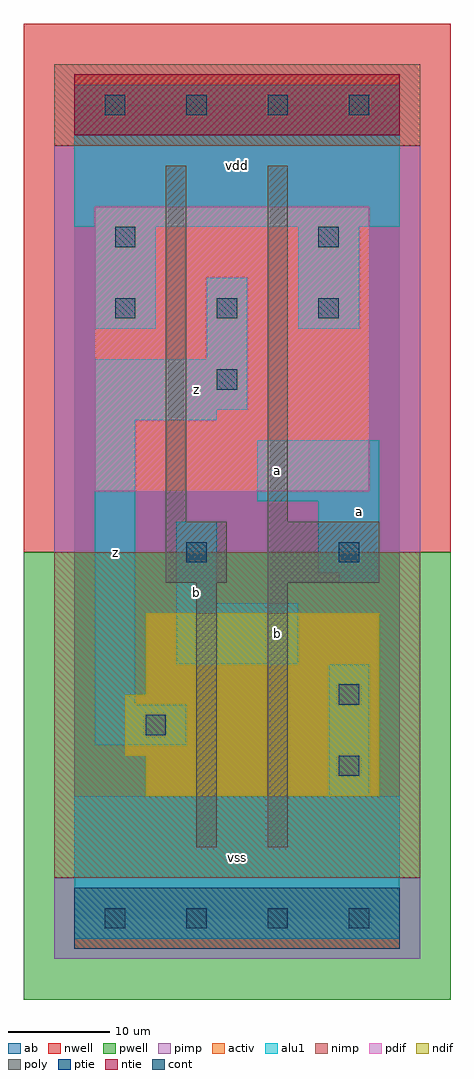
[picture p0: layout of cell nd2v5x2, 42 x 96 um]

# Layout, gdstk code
import gdstk
lib = gdstk.Library(unit=1e-6, precision=1e-09)
def R(c, l, rs):  # rectangles x0, y0, x1, y1
    for r in rs: c.add(gdstk.rectangle(r[:2], r[2:], *l))
def A(c, l, x, y, w, h, nx, ny, dx, dy):  # array of equal rectangles
    R(c, l, [(x+i*dx, y+j*dy, x+i*dx+w, y+j*dy+h) for i in range(nx) for j in range(ny)])
ndif = (3, 0)
pdif = (4, 0)
ntie = (5, 0)
ptie = (6, 0)
cont = (25, 0)
pwell = (41, 0)
nwell = (42, 0)
activ = (43, 0)
pimp = (44, 0)
nimp = (45, 0)
poly = (46, 0)
alu1 = (49, 0)
ab = (63, 0)

nd2v5x2 = lib.new_cell('nd2v5x2')
R(nd2v5x2, ndif, [(7,12,30,16), (5,16,30,22), (7,22,30,30)])
R(nd2v5x2, pdif, [(2,42,29,70)])
R(nd2v5x2, ntie, [(0,77,32,83)])
R(nd2v5x2, ptie, [(0,-3,32,3)])
A(nd2v5x2, cont, 3, -1, 2, 2, 4, 2, 8, 80)
A(nd2v5x2, cont, 4, 59, 2, 2, 3, 1, 10, 0)
R(nd2v5x2, cont, [(26,14,28,16), (7,18,9,20), (26,21,28,23), (11,35,13,37), (26,35,28,37), (14,52,16,54), (4,66,6,68), (24,66,26,68)])
R(nd2v5x2, pwell, [(-5,-8,37,36)])
R(nd2v5x2, nwell, [(-5,36,37,88)])
R(nd2v5x2, activ, [(0,-3,32,3), (7,12,30,16), (5,16,30,22), (7,22,30,30), (2,42,29,70), (0,77,32,83)])
R(nd2v5x2, pimp, [(-2,-4,34,4), (-2,36,34,76)])
R(nd2v5x2, nimp, [(-2,4,34,36), (-2,76,34,84)])
R(nd2v5x2, poly, [(12,7,14,33), (19,7,21,33), (9,33,15,39), (19,33,30,39), (9,39,11,74), (19,39,21,74)])
R(nd2v5x2, alu1, [(0,-2,32,12), (25,12,29,25), (2,17,11,21), (2,21,6,49), (10,25,22,31), (10,31,14,39), (26,33,30,34), (24,34,30,41), (18,41,30,47), (2,49,14,50), (2,50,17,55), (13,55,17,63), (2,58,8,68), (22,58,28,68), (0,68,32,82)])
R(nd2v5x2, ab, [(0,0,32,80)])
nd2v5x2.add(gdstk.Label('z', (4,36), layer=49, texttype=0))
nd2v5x2.add(gdstk.Label('b', (12,32), layer=49, texttype=0))
nd2v5x2.add(gdstk.Label('z', (12,52), layer=49, texttype=0))
nd2v5x2.add(gdstk.Label('vss', (16,6), layer=49, texttype=0))
nd2v5x2.add(gdstk.Label('b', (20,28), layer=49, texttype=0))
nd2v5x2.add(gdstk.Label('a', (20,44), layer=49, texttype=0))
nd2v5x2.add(gdstk.Label('vdd', (16,74), layer=49, texttype=0))
nd2v5x2.add(gdstk.Label('a', (28,40), layer=49, texttype=0))

lib.write_gds('nd2v5x2.gds')
